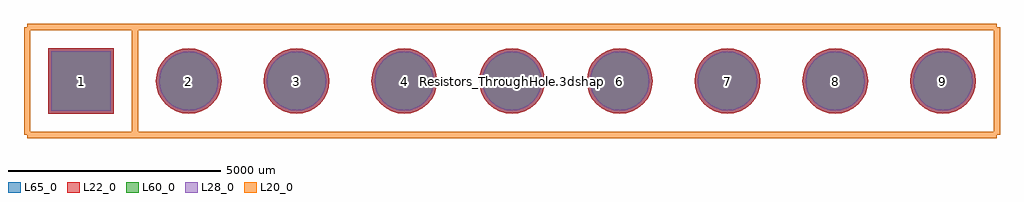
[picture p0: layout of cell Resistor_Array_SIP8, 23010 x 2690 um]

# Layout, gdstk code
import gdstk
lib = gdstk.Library(unit=1e-6, precision=1e-09)
def R(c, l, rs):  # rectangles x0, y0, x1, y1
    for r in rs: c.add(gdstk.rectangle(r[:2], r[2:], *l))
def P(c, l, *ps):  # polygons
    for p in ps: c.add(gdstk.Polygon(p, *l))
L20_0 = (20, 0)
L22_0 = (22, 0)
L28_0 = (28, 0)
L60_0 = (60, 0)
L65_0 = (65, 0)

resistor_array_sip8 = lib.new_cell('Resistor_Array_SIP8')
R(resistor_array_sip8, L22_0, [(-10933.5,-773.5,-9386.5,773.5)])
P(resistor_array_sip8, L22_0, [(10933.5,0),(10918.637,150.902),(10874.621,296.006),(10803.142,429.734),(10706.947,546.947),(10589.734,643.142),(10456.006,714.621),(10310.902,758.637),(10160,773.5),(10009.098,758.637),(9863.994,714.621),(9730.266,643.142),(9613.053,546.947),(9516.858,429.734),(9445.379,296.006),(9401.363,150.902),(9386.5,0),(9401.363,-150.902),(9445.379,-296.006),(9516.858,-429.734),(9613.053,-546.947),(9730.266,-643.142),(9863.994,-714.621),(10009.098,-758.637),(10160,-773.5),(10310.902,-758.637),(10456.006,-714.621),(10589.734,-643.142),(10706.947,-546.947),(10803.142,-429.734),(10874.621,-296.006),(10918.637,-150.902)],
  [(8393.5,0),(8378.637,150.902),(8334.621,296.006),(8263.142,429.734),(8166.947,546.947),(8049.734,643.142),(7916.006,714.621),(7770.902,758.637),(7620,773.5),(7469.098,758.637),(7323.994,714.621),(7190.266,643.142),(7073.053,546.947),(6976.858,429.734),(6905.379,296.006),(6861.363,150.902),(6846.5,0),(6861.363,-150.902),(6905.379,-296.006),(6976.858,-429.734),(7073.053,-546.947),(7190.266,-643.142),(7323.994,-714.621),(7469.098,-758.637),(7620,-773.5),(7770.902,-758.637),(7916.006,-714.621),(8049.734,-643.142),(8166.947,-546.947),(8263.142,-429.734),(8334.621,-296.006),(8378.637,-150.902)],
  [(5853.5,0),(5838.637,150.902),(5794.621,296.006),(5723.142,429.734),(5626.947,546.947),(5509.734,643.142),(5376.006,714.621),(5230.902,758.637),(5080,773.5),(4929.098,758.637),(4783.994,714.621),(4650.266,643.142),(4533.053,546.947),(4436.858,429.734),(4365.379,296.006),(4321.363,150.902),(4306.5,0),(4321.363,-150.902),(4365.379,-296.006),(4436.858,-429.734),(4533.053,-546.947),(4650.266,-643.142),(4783.994,-714.621),(4929.098,-758.637),(5080,-773.5),(5230.902,-758.637),(5376.006,-714.621),(5509.734,-643.142),(5626.947,-546.947),(5723.142,-429.734),(5794.621,-296.006),(5838.637,-150.902)],
  [(3313.5,0),(3298.637,150.902),(3254.621,296.006),(3183.142,429.734),(3086.947,546.947),(2969.734,643.142),(2836.006,714.621),(2690.902,758.637),(2540,773.5),(2389.098,758.637),(2243.994,714.621),(2110.266,643.142),(1993.053,546.947),(1896.858,429.734),(1825.379,296.006),(1781.363,150.902),(1766.5,0),(1781.363,-150.902),(1825.379,-296.006),(1896.858,-429.734),(1993.053,-546.947),(2110.266,-643.142),(2243.994,-714.621),(2389.098,-758.637),(2540,-773.5),(2690.902,-758.637),(2836.006,-714.621),(2969.734,-643.142),(3086.947,-546.947),(3183.142,-429.734),(3254.621,-296.006),(3298.637,-150.902)],
  [(773.5,0),(758.637,150.902),(714.621,296.006),(643.142,429.734),(546.947,546.947),(429.734,643.142),(296.006,714.621),(150.902,758.637),(0,773.5),(-150.902,758.637),(-296.006,714.621),(-429.734,643.142),(-546.947,546.947),(-643.142,429.734),(-714.621,296.006),(-758.637,150.902),(-773.5,0),(-758.637,-150.902),(-714.621,-296.006),(-643.142,-429.734),(-546.947,-546.947),(-429.734,-643.142),(-296.006,-714.621),(-150.902,-758.637),(0,-773.5),(150.902,-758.637),(296.006,-714.621),(429.734,-643.142),(546.947,-546.947),(643.142,-429.734),(714.621,-296.006),(758.637,-150.902)],
  [(-1766.5,0),(-1781.363,150.902),(-1825.379,296.006),(-1896.858,429.734),(-1993.053,546.947),(-2110.266,643.142),(-2243.994,714.621),(-2389.098,758.637),(-2540,773.5),(-2690.902,758.637),(-2836.006,714.621),(-2969.734,643.142),(-3086.947,546.947),(-3183.142,429.734),(-3254.621,296.006),(-3298.637,150.902),(-3313.5,0),(-3298.637,-150.902),(-3254.621,-296.006),(-3183.142,-429.734),(-3086.947,-546.947),(-2969.734,-643.142),(-2836.006,-714.621),(-2690.902,-758.637),(-2540,-773.5),(-2389.098,-758.637),(-2243.994,-714.621),(-2110.266,-643.142),(-1993.053,-546.947),(-1896.858,-429.734),(-1825.379,-296.006),(-1781.363,-150.902)],
  [(-4306.5,0),(-4321.363,150.902),(-4365.379,296.006),(-4436.858,429.734),(-4533.053,546.947),(-4650.266,643.142),(-4783.994,714.621),(-4929.098,758.637),(-5080,773.5),(-5230.902,758.637),(-5376.006,714.621),(-5509.734,643.142),(-5626.947,546.947),(-5723.142,429.734),(-5794.621,296.006),(-5838.637,150.902),(-5853.5,0),(-5838.637,-150.902),(-5794.621,-296.006),(-5723.142,-429.734),(-5626.947,-546.947),(-5509.734,-643.142),(-5376.006,-714.621),(-5230.902,-758.637),(-5080,-773.5),(-4929.098,-758.637),(-4783.994,-714.621),(-4650.266,-643.142),(-4533.053,-546.947),(-4436.858,-429.734),(-4365.379,-296.006),(-4321.363,-150.902)],
  [(-6846.5,0),(-6861.363,150.902),(-6905.379,296.006),(-6976.858,429.734),(-7073.053,546.947),(-7190.266,643.142),(-7323.994,714.621),(-7469.098,758.637),(-7620,773.5),(-7770.902,758.637),(-7916.006,714.621),(-8049.734,643.142),(-8166.947,546.947),(-8263.142,429.734),(-8334.621,296.006),(-8378.637,150.902),(-8393.5,0),(-8378.637,-150.902),(-8334.621,-296.006),(-8263.142,-429.734),(-8166.947,-546.947),(-8049.734,-643.142),(-7916.006,-714.621),(-7770.902,-758.637),(-7620,-773.5),(-7469.098,-758.637),(-7323.994,-714.621),(-7190.266,-643.142),(-7073.053,-546.947),(-6976.858,-429.734),(-6905.379,-296.006),(-6861.363,-150.902)])
R(resistor_array_sip8, L28_0, [(-10858.5,-698.5,-9461.5,698.5)])
P(resistor_array_sip8, L28_0, [(10858.5,0),(10845.079,136.271),(10805.33,267.304),(10740.782,388.066),(10653.914,493.914),(10548.066,580.782),(10427.304,645.33),(10296.271,685.079),(10160,698.5),(10023.729,685.079),(9892.696,645.33),(9771.934,580.782),(9666.086,493.914),(9579.218,388.066),(9514.67,267.304),(9474.921,136.271),(9461.5,0),(9474.921,-136.271),(9514.67,-267.304),(9579.218,-388.066),(9666.086,-493.914),(9771.934,-580.782),(9892.696,-645.33),(10023.729,-685.079),(10160,-698.5),(10296.271,-685.079),(10427.304,-645.33),(10548.066,-580.782),(10653.914,-493.914),(10740.782,-388.066),(10805.33,-267.304),(10845.079,-136.271)],
  [(8318.5,0),(8305.079,136.271),(8265.33,267.304),(8200.782,388.066),(8113.914,493.914),(8008.066,580.782),(7887.304,645.33),(7756.271,685.079),(7620,698.5),(7483.729,685.079),(7352.696,645.33),(7231.934,580.782),(7126.086,493.914),(7039.218,388.066),(6974.67,267.304),(6934.921,136.271),(6921.5,0),(6934.921,-136.271),(6974.67,-267.304),(7039.218,-388.066),(7126.086,-493.914),(7231.934,-580.782),(7352.696,-645.33),(7483.729,-685.079),(7620,-698.5),(7756.271,-685.079),(7887.304,-645.33),(8008.066,-580.782),(8113.914,-493.914),(8200.782,-388.066),(8265.33,-267.304),(8305.079,-136.271)],
  [(5778.5,0),(5765.079,136.271),(5725.33,267.304),(5660.782,388.066),(5573.914,493.914),(5468.066,580.782),(5347.304,645.33),(5216.271,685.079),(5080,698.5),(4943.729,685.079),(4812.696,645.33),(4691.934,580.782),(4586.086,493.914),(4499.218,388.066),(4434.67,267.304),(4394.921,136.271),(4381.5,0),(4394.921,-136.271),(4434.67,-267.304),(4499.218,-388.066),(4586.086,-493.914),(4691.934,-580.782),(4812.696,-645.33),(4943.729,-685.079),(5080,-698.5),(5216.271,-685.079),(5347.304,-645.33),(5468.066,-580.782),(5573.914,-493.914),(5660.782,-388.066),(5725.33,-267.304),(5765.079,-136.271)],
  [(3238.5,0),(3225.079,136.271),(3185.33,267.304),(3120.782,388.066),(3033.914,493.914),(2928.066,580.782),(2807.304,645.33),(2676.271,685.079),(2540,698.5),(2403.729,685.079),(2272.696,645.33),(2151.934,580.782),(2046.086,493.914),(1959.218,388.066),(1894.67,267.304),(1854.921,136.271),(1841.5,0),(1854.921,-136.271),(1894.67,-267.304),(1959.218,-388.066),(2046.086,-493.914),(2151.934,-580.782),(2272.696,-645.33),(2403.729,-685.079),(2540,-698.5),(2676.271,-685.079),(2807.304,-645.33),(2928.066,-580.782),(3033.914,-493.914),(3120.782,-388.066),(3185.33,-267.304),(3225.079,-136.271)],
  [(698.5,0),(685.079,136.271),(645.33,267.304),(580.782,388.066),(493.914,493.914),(388.066,580.782),(267.304,645.33),(136.271,685.079),(0,698.5),(-136.271,685.079),(-267.304,645.33),(-388.066,580.782),(-493.914,493.914),(-580.782,388.066),(-645.33,267.304),(-685.079,136.271),(-698.5,0),(-685.079,-136.271),(-645.33,-267.304),(-580.782,-388.066),(-493.914,-493.914),(-388.066,-580.782),(-267.304,-645.33),(-136.271,-685.079),(0,-698.5),(136.271,-685.079),(267.304,-645.33),(388.066,-580.782),(493.914,-493.914),(580.782,-388.066),(645.33,-267.304),(685.079,-136.271)],
  [(-1841.5,0),(-1854.921,136.271),(-1894.67,267.304),(-1959.218,388.066),(-2046.086,493.914),(-2151.934,580.782),(-2272.696,645.33),(-2403.729,685.079),(-2540,698.5),(-2676.271,685.079),(-2807.304,645.33),(-2928.066,580.782),(-3033.914,493.914),(-3120.782,388.066),(-3185.33,267.304),(-3225.079,136.271),(-3238.5,0),(-3225.079,-136.271),(-3185.33,-267.304),(-3120.782,-388.066),(-3033.914,-493.914),(-2928.066,-580.782),(-2807.304,-645.33),(-2676.271,-685.079),(-2540,-698.5),(-2403.729,-685.079),(-2272.696,-645.33),(-2151.934,-580.782),(-2046.086,-493.914),(-1959.218,-388.066),(-1894.67,-267.304),(-1854.921,-136.271)],
  [(-4381.5,0),(-4394.921,136.271),(-4434.67,267.304),(-4499.218,388.066),(-4586.086,493.914),(-4691.934,580.782),(-4812.696,645.33),(-4943.729,685.079),(-5080,698.5),(-5216.271,685.079),(-5347.304,645.33),(-5468.066,580.782),(-5573.914,493.914),(-5660.782,388.066),(-5725.33,267.304),(-5765.079,136.271),(-5778.5,0),(-5765.079,-136.271),(-5725.33,-267.304),(-5660.782,-388.066),(-5573.914,-493.914),(-5468.066,-580.782),(-5347.304,-645.33),(-5216.271,-685.079),(-5080,-698.5),(-4943.729,-685.079),(-4812.696,-645.33),(-4691.934,-580.782),(-4586.086,-493.914),(-4499.218,-388.066),(-4434.67,-267.304),(-4394.921,-136.271)],
  [(-6921.5,0),(-6934.921,136.271),(-6974.67,267.304),(-7039.218,388.066),(-7126.086,493.914),(-7231.934,580.782),(-7352.696,645.33),(-7483.729,685.079),(-7620,698.5),(-7756.271,685.079),(-7887.304,645.33),(-8008.066,580.782),(-8113.914,493.914),(-8200.782,388.066),(-8265.33,267.304),(-8305.079,136.271),(-8318.5,0),(-8305.079,-136.271),(-8265.33,-267.304),(-8200.782,-388.066),(-8113.914,-493.914),(-8008.066,-580.782),(-7887.304,-645.33),(-7756.271,-685.079),(-7620,-698.5),(-7483.729,-685.079),(-7352.696,-645.33),(-7231.934,-580.782),(-7126.086,-493.914),(-7039.218,-388.066),(-6974.67,-267.304),(-6934.921,-136.271)])
R(resistor_array_sip8, L60_0, [(-10858.5,-698.5,-9461.5,698.5)])
P(resistor_array_sip8, L60_0, [(10858.5,0),(10845.079,136.271),(10805.33,267.304),(10740.782,388.066),(10653.914,493.914),(10548.066,580.782),(10427.304,645.33),(10296.271,685.079),(10160,698.5),(10023.729,685.079),(9892.696,645.33),(9771.934,580.782),(9666.086,493.914),(9579.218,388.066),(9514.67,267.304),(9474.921,136.271),(9461.5,0),(9474.921,-136.271),(9514.67,-267.304),(9579.218,-388.066),(9666.086,-493.914),(9771.934,-580.782),(9892.696,-645.33),(10023.729,-685.079),(10160,-698.5),(10296.271,-685.079),(10427.304,-645.33),(10548.066,-580.782),(10653.914,-493.914),(10740.782,-388.066),(10805.33,-267.304),(10845.079,-136.271)],
  [(8318.5,0),(8305.079,136.271),(8265.33,267.304),(8200.782,388.066),(8113.914,493.914),(8008.066,580.782),(7887.304,645.33),(7756.271,685.079),(7620,698.5),(7483.729,685.079),(7352.696,645.33),(7231.934,580.782),(7126.086,493.914),(7039.218,388.066),(6974.67,267.304),(6934.921,136.271),(6921.5,0),(6934.921,-136.271),(6974.67,-267.304),(7039.218,-388.066),(7126.086,-493.914),(7231.934,-580.782),(7352.696,-645.33),(7483.729,-685.079),(7620,-698.5),(7756.271,-685.079),(7887.304,-645.33),(8008.066,-580.782),(8113.914,-493.914),(8200.782,-388.066),(8265.33,-267.304),(8305.079,-136.271)],
  [(5778.5,0),(5765.079,136.271),(5725.33,267.304),(5660.782,388.066),(5573.914,493.914),(5468.066,580.782),(5347.304,645.33),(5216.271,685.079),(5080,698.5),(4943.729,685.079),(4812.696,645.33),(4691.934,580.782),(4586.086,493.914),(4499.218,388.066),(4434.67,267.304),(4394.921,136.271),(4381.5,0),(4394.921,-136.271),(4434.67,-267.304),(4499.218,-388.066),(4586.086,-493.914),(4691.934,-580.782),(4812.696,-645.33),(4943.729,-685.079),(5080,-698.5),(5216.271,-685.079),(5347.304,-645.33),(5468.066,-580.782),(5573.914,-493.914),(5660.782,-388.066),(5725.33,-267.304),(5765.079,-136.271)],
  [(3238.5,0),(3225.079,136.271),(3185.33,267.304),(3120.782,388.066),(3033.914,493.914),(2928.066,580.782),(2807.304,645.33),(2676.271,685.079),(2540,698.5),(2403.729,685.079),(2272.696,645.33),(2151.934,580.782),(2046.086,493.914),(1959.218,388.066),(1894.67,267.304),(1854.921,136.271),(1841.5,0),(1854.921,-136.271),(1894.67,-267.304),(1959.218,-388.066),(2046.086,-493.914),(2151.934,-580.782),(2272.696,-645.33),(2403.729,-685.079),(2540,-698.5),(2676.271,-685.079),(2807.304,-645.33),(2928.066,-580.782),(3033.914,-493.914),(3120.782,-388.066),(3185.33,-267.304),(3225.079,-136.271)],
  [(698.5,0),(685.079,136.271),(645.33,267.304),(580.782,388.066),(493.914,493.914),(388.066,580.782),(267.304,645.33),(136.271,685.079),(0,698.5),(-136.271,685.079),(-267.304,645.33),(-388.066,580.782),(-493.914,493.914),(-580.782,388.066),(-645.33,267.304),(-685.079,136.271),(-698.5,0),(-685.079,-136.271),(-645.33,-267.304),(-580.782,-388.066),(-493.914,-493.914),(-388.066,-580.782),(-267.304,-645.33),(-136.271,-685.079),(0,-698.5),(136.271,-685.079),(267.304,-645.33),(388.066,-580.782),(493.914,-493.914),(580.782,-388.066),(645.33,-267.304),(685.079,-136.271)],
  [(-1841.5,0),(-1854.921,136.271),(-1894.67,267.304),(-1959.218,388.066),(-2046.086,493.914),(-2151.934,580.782),(-2272.696,645.33),(-2403.729,685.079),(-2540,698.5),(-2676.271,685.079),(-2807.304,645.33),(-2928.066,580.782),(-3033.914,493.914),(-3120.782,388.066),(-3185.33,267.304),(-3225.079,136.271),(-3238.5,0),(-3225.079,-136.271),(-3185.33,-267.304),(-3120.782,-388.066),(-3033.914,-493.914),(-2928.066,-580.782),(-2807.304,-645.33),(-2676.271,-685.079),(-2540,-698.5),(-2403.729,-685.079),(-2272.696,-645.33),(-2151.934,-580.782),(-2046.086,-493.914),(-1959.218,-388.066),(-1894.67,-267.304),(-1854.921,-136.271)],
  [(-4381.5,0),(-4394.921,136.271),(-4434.67,267.304),(-4499.218,388.066),(-4586.086,493.914),(-4691.934,580.782),(-4812.696,645.33),(-4943.729,685.079),(-5080,698.5),(-5216.271,685.079),(-5347.304,645.33),(-5468.066,580.782),(-5573.914,493.914),(-5660.782,388.066),(-5725.33,267.304),(-5765.079,136.271),(-5778.5,0),(-5765.079,-136.271),(-5725.33,-267.304),(-5660.782,-388.066),(-5573.914,-493.914),(-5468.066,-580.782),(-5347.304,-645.33),(-5216.271,-685.079),(-5080,-698.5),(-4943.729,-685.079),(-4812.696,-645.33),(-4691.934,-580.782),(-4586.086,-493.914),(-4499.218,-388.066),(-4434.67,-267.304),(-4394.921,-136.271)],
  [(-6921.5,0),(-6934.921,136.271),(-6974.67,267.304),(-7039.218,388.066),(-7126.086,493.914),(-7231.934,580.782),(-7352.696,645.33),(-7483.729,685.079),(-7620,698.5),(-7756.271,685.079),(-7887.304,645.33),(-8008.066,580.782),(-8113.914,493.914),(-8200.782,388.066),(-8265.33,267.304),(-8305.079,136.271),(-8318.5,0),(-8305.079,-136.271),(-8265.33,-267.304),(-8200.782,-388.066),(-8113.914,-493.914),(-8008.066,-580.782),(-7887.304,-645.33),(-7756.271,-685.079),(-7620,-698.5),(-7483.729,-685.079),(-7352.696,-645.33),(-7231.934,-580.782),(-7126.086,-493.914),(-7039.218,-388.066),(-6974.67,-267.304),(-6934.921,-136.271)])
R(resistor_array_sip8, L65_0, [(-10933.5,-773.5,-9386.5,773.5)])
P(resistor_array_sip8, L65_0, [(10933.5,0),(10918.637,150.902),(10874.621,296.006),(10803.142,429.734),(10706.947,546.947),(10589.734,643.142),(10456.006,714.621),(10310.902,758.637),(10160,773.5),(10009.098,758.637),(9863.994,714.621),(9730.266,643.142),(9613.053,546.947),(9516.858,429.734),(9445.379,296.006),(9401.363,150.902),(9386.5,0),(9401.363,-150.902),(9445.379,-296.006),(9516.858,-429.734),(9613.053,-546.947),(9730.266,-643.142),(9863.994,-714.621),(10009.098,-758.637),(10160,-773.5),(10310.902,-758.637),(10456.006,-714.621),(10589.734,-643.142),(10706.947,-546.947),(10803.142,-429.734),(10874.621,-296.006),(10918.637,-150.902)],
  [(8393.5,0),(8378.637,150.902),(8334.621,296.006),(8263.142,429.734),(8166.947,546.947),(8049.734,643.142),(7916.006,714.621),(7770.902,758.637),(7620,773.5),(7469.098,758.637),(7323.994,714.621),(7190.266,643.142),(7073.053,546.947),(6976.858,429.734),(6905.379,296.006),(6861.363,150.902),(6846.5,0),(6861.363,-150.902),(6905.379,-296.006),(6976.858,-429.734),(7073.053,-546.947),(7190.266,-643.142),(7323.994,-714.621),(7469.098,-758.637),(7620,-773.5),(7770.902,-758.637),(7916.006,-714.621),(8049.734,-643.142),(8166.947,-546.947),(8263.142,-429.734),(8334.621,-296.006),(8378.637,-150.902)],
  [(5853.5,0),(5838.637,150.902),(5794.621,296.006),(5723.142,429.734),(5626.947,546.947),(5509.734,643.142),(5376.006,714.621),(5230.902,758.637),(5080,773.5),(4929.098,758.637),(4783.994,714.621),(4650.266,643.142),(4533.053,546.947),(4436.858,429.734),(4365.379,296.006),(4321.363,150.902),(4306.5,0),(4321.363,-150.902),(4365.379,-296.006),(4436.858,-429.734),(4533.053,-546.947),(4650.266,-643.142),(4783.994,-714.621),(4929.098,-758.637),(5080,-773.5),(5230.902,-758.637),(5376.006,-714.621),(5509.734,-643.142),(5626.947,-546.947),(5723.142,-429.734),(5794.621,-296.006),(5838.637,-150.902)],
  [(3313.5,0),(3298.637,150.902),(3254.621,296.006),(3183.142,429.734),(3086.947,546.947),(2969.734,643.142),(2836.006,714.621),(2690.902,758.637),(2540,773.5),(2389.098,758.637),(2243.994,714.621),(2110.266,643.142),(1993.053,546.947),(1896.858,429.734),(1825.379,296.006),(1781.363,150.902),(1766.5,0),(1781.363,-150.902),(1825.379,-296.006),(1896.858,-429.734),(1993.053,-546.947),(2110.266,-643.142),(2243.994,-714.621),(2389.098,-758.637),(2540,-773.5),(2690.902,-758.637),(2836.006,-714.621),(2969.734,-643.142),(3086.947,-546.947),(3183.142,-429.734),(3254.621,-296.006),(3298.637,-150.902)],
  [(773.5,0),(758.637,150.902),(714.621,296.006),(643.142,429.734),(546.947,546.947),(429.734,643.142),(296.006,714.621),(150.902,758.637),(0,773.5),(-150.902,758.637),(-296.006,714.621),(-429.734,643.142),(-546.947,546.947),(-643.142,429.734),(-714.621,296.006),(-758.637,150.902),(-773.5,0),(-758.637,-150.902),(-714.621,-296.006),(-643.142,-429.734),(-546.947,-546.947),(-429.734,-643.142),(-296.006,-714.621),(-150.902,-758.637),(0,-773.5),(150.902,-758.637),(296.006,-714.621),(429.734,-643.142),(546.947,-546.947),(643.142,-429.734),(714.621,-296.006),(758.637,-150.902)],
  [(-1766.5,0),(-1781.363,150.902),(-1825.379,296.006),(-1896.858,429.734),(-1993.053,546.947),(-2110.266,643.142),(-2243.994,714.621),(-2389.098,758.637),(-2540,773.5),(-2690.902,758.637),(-2836.006,714.621),(-2969.734,643.142),(-3086.947,546.947),(-3183.142,429.734),(-3254.621,296.006),(-3298.637,150.902),(-3313.5,0),(-3298.637,-150.902),(-3254.621,-296.006),(-3183.142,-429.734),(-3086.947,-546.947),(-2969.734,-643.142),(-2836.006,-714.621),(-2690.902,-758.637),(-2540,-773.5),(-2389.098,-758.637),(-2243.994,-714.621),(-2110.266,-643.142),(-1993.053,-546.947),(-1896.858,-429.734),(-1825.379,-296.006),(-1781.363,-150.902)],
  [(-4306.5,0),(-4321.363,150.902),(-4365.379,296.006),(-4436.858,429.734),(-4533.053,546.947),(-4650.266,643.142),(-4783.994,714.621),(-4929.098,758.637),(-5080,773.5),(-5230.902,758.637),(-5376.006,714.621),(-5509.734,643.142),(-5626.947,546.947),(-5723.142,429.734),(-5794.621,296.006),(-5838.637,150.902),(-5853.5,0),(-5838.637,-150.902),(-5794.621,-296.006),(-5723.142,-429.734),(-5626.947,-546.947),(-5509.734,-643.142),(-5376.006,-714.621),(-5230.902,-758.637),(-5080,-773.5),(-4929.098,-758.637),(-4783.994,-714.621),(-4650.266,-643.142),(-4533.053,-546.947),(-4436.858,-429.734),(-4365.379,-296.006),(-4321.363,-150.902)],
  [(-6846.5,0),(-6861.363,150.902),(-6905.379,296.006),(-6976.858,429.734),(-7073.053,546.947),(-7190.266,643.142),(-7323.994,714.621),(-7469.098,758.637),(-7620,773.5),(-7770.902,758.637),(-7916.006,714.621),(-8049.734,643.142),(-8166.947,546.947),(-8263.142,429.734),(-8334.621,296.006),(-8378.637,150.902),(-8393.5,0),(-8378.637,-150.902),(-8334.621,-296.006),(-8263.142,-429.734),(-8166.947,-546.947),(-8049.734,-643.142),(-7916.006,-714.621),(-7770.902,-758.637),(-7620,-773.5),(-7469.098,-758.637),(-7323.994,-714.621),(-7190.266,-643.142),(-7073.053,-546.947),(-6976.858,-429.734),(-6905.379,-296.006),(-6861.363,-150.902)])
resistor_array_sip8.add(gdstk.FlexPath([(-8890,1270),(-8890,-1270)], 149.998, ends="flush", simple_path=True, layer=20, datatype=0))  # L20_0
resistor_array_sip8.add(gdstk.FlexPath([(11430,1270),(-11430,1270)], 149.998, ends="flush", simple_path=True, layer=20, datatype=0))  # L20_0
resistor_array_sip8.add(gdstk.FlexPath([(-11430,-1270),(-11430,1270)], 149.998, ends="flush", simple_path=True, layer=20, datatype=0))  # L20_0
resistor_array_sip8.add(gdstk.FlexPath([(11430,-1270),(-11430,-1270)], 149.998, ends="flush", simple_path=True, layer=20, datatype=0))  # L20_0
resistor_array_sip8.add(gdstk.FlexPath([(11430,1270),(11430,-1270)], 149.998, ends="flush", simple_path=True, layer=20, datatype=0))  # L20_0
resistor_array_sip8.add(gdstk.Label('Resistors_ThroughHole.3dshapes/Resistor_Array_SIP8.wrl', (0,0), layer=12, texttype=0))
resistor_array_sip8.add(gdstk.Label('9', (10160,0), layer=28, texttype=0))
resistor_array_sip8.add(gdstk.Label('8', (7620,0), layer=28, texttype=0))
resistor_array_sip8.add(gdstk.Label('7', (5080,0), layer=28, texttype=0))
resistor_array_sip8.add(gdstk.Label('6', (2540,0), layer=28, texttype=0))
resistor_array_sip8.add(gdstk.Label('5', (0,0), layer=28, texttype=0))
resistor_array_sip8.add(gdstk.Label('4', (-2540,0), layer=28, texttype=0))
resistor_array_sip8.add(gdstk.Label('3', (-5080,0), layer=28, texttype=0))
resistor_array_sip8.add(gdstk.Label('2', (-7620,0), layer=28, texttype=0))
resistor_array_sip8.add(gdstk.Label('1', (-10160,0), layer=28, texttype=0))
resistor_array_sip8.add(gdstk.Label('type', (0,-2032), layer=9, texttype=0))
resistor_array_sip8.add(gdstk.Label('devicename', (-1270,2794), layer=9, texttype=0))

lib.write_gds('Resistor_Array_SIP8.gds')
